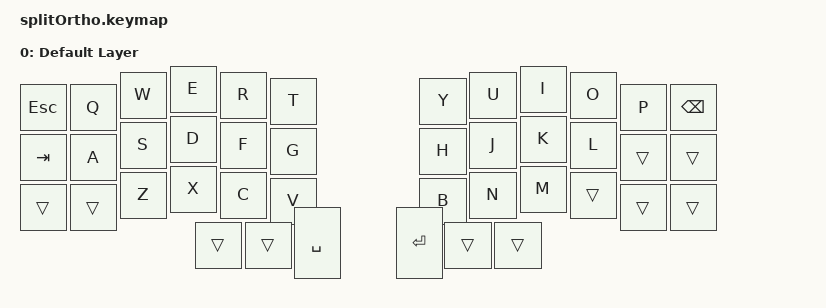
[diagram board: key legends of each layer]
#include <behaviors.dtsi>
#include <dt-bindings/zmk/keys.h>
#include <dt-bindings/zmk/bt.h>

/ {
    keymap {
        compatible = "zmk,keymap";

        default_layer {
            display-name = "Default Layer";

            //╭─────┬─────┬─────┬─────┬─────┬─────╮    ╭─────┬─────┬─────┬─────┬─────┬─────╮
            //│ ESC │  Q  │  W  │  E  │  R  │  T  │    │  Y  │  U  │  I  │  O  │  P  │ BCK │ 
            //├─────┼─────┼─────┼─────┼─────┼─────┤    ├─────┼─────┼─────┼─────┼─────┼─────┤
            //│ TAB │  A  │  S  │  D  │  F  │  G  │    │  H  │  J  │  K  │  L  │     │     │
            //├─────┼─────┼─────┼─────┼─────┤─────┤    ├─────┼─────┼─────┼─────┼─────┤─────┤
            //│     │     │  Z  │  X  │  C  │  V  │    │  B  │  N  │  M  │     │     │     │
            //╰─────┴─────┴─────┼─────┼─────┤─────┤    ├─────┼─────┼─────┼─────┴─────┴─────╯
            //                  │     │     │     │    │     │     │     │
            //                  ╰─────┴─────┴─────╯    ╰─────┴─────┴─────╯

            bindings = <
                &kp ESC  &kp Q   &kp W   &kp E   &kp R   &kp T      &kp Y   &kp U   &kp I   &kp O   &kp P   &kp BSPC
                &kp TAB  &kp A   &kp S   &kp D   &kp F   &kp G      &kp H   &kp J   &kp K   &kp L   &trans  &trans
                &trans   &trans  &kp Z   &kp X   &kp C   &kp V      &kp B   &kp N   &kp M   &trans  &trans  &trans
                                         &trans  &trans  &kp SPACE  &kp RET &trans  &trans
            >;
        };
    };
};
